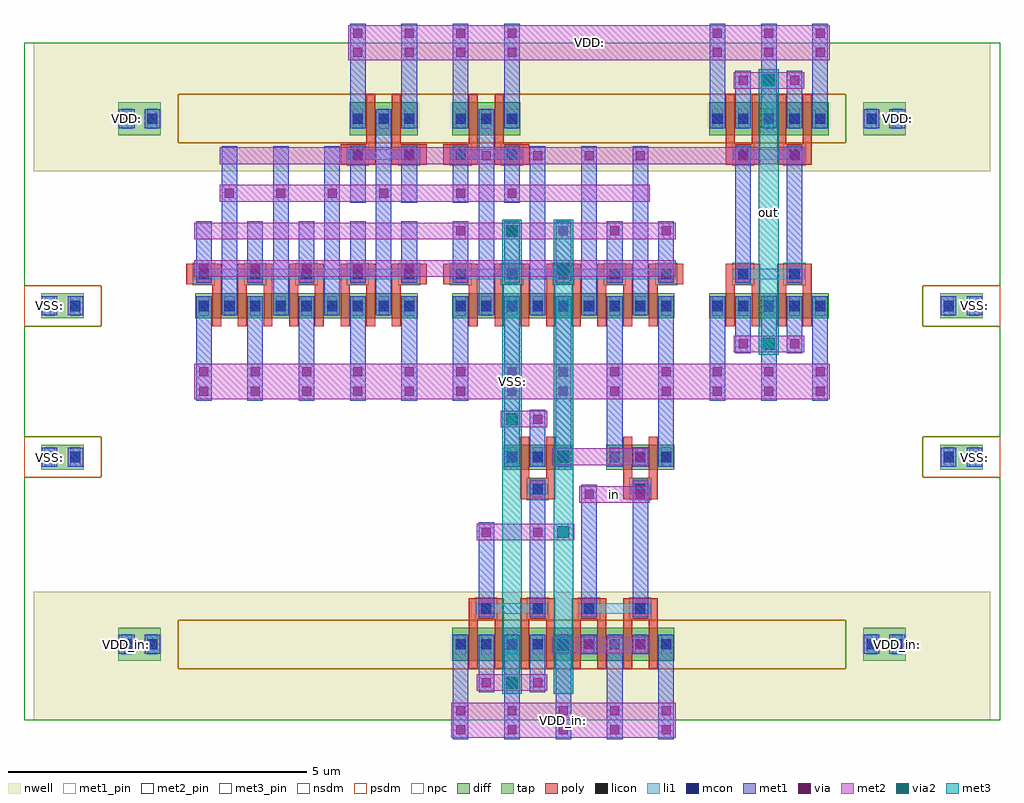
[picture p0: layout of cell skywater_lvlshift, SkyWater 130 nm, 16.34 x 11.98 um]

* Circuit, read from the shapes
.subckt skywater_lvlshift VDD: VDD_in: VSS: in out
XM1 n1 n2 VSS: VSS: sky130_fd_pr__nfet_01v8 w=0.42 l=0.15 m=8
XM2 n3 n4 VSS: VSS: sky130_fd_pr__nfet_01v8 w=0.42 l=0.15 m=8
XM3 n4 n2 VSS: VSS: sky130_fd_pr__nfet_01v8 w=0.42 l=0.15 m=2
XM4 n2 in VSS: VSS: sky130_fd_pr__nfet_01v8 w=0.42 l=0.15 m=2
XM5 out n3 VSS: VSS: sky130_fd_pr__nfet_01v8 w=0.42 l=0.15 m=4
XM6 n1 n3 VDD: VDD: sky130_fd_pr__pfet_01v8 w=0.55 l=0.15 m=2
XM7 n4 n2 VDD_in: VDD_in: sky130_fd_pr__pfet_01v8 w=0.55 l=0.15 m=4
XM8 n3 n1 VDD: VDD: sky130_fd_pr__pfet_01v8 w=0.55 l=0.15 m=2
XM9 n2 in VDD_in: VDD_in: sky130_fd_pr__pfet_01v8 w=0.55 l=0.15 m=4
XM10 out n3 VDD: VDD: sky130_fd_pr__pfet_01v8 w=0.55 l=0.15 m=4
.ends

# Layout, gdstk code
from math import pi, radians
import gdstk
lib = gdstk.Library(unit=1e-6, precision=1e-09)
def R(c, l, rs):  # rectangles x0, y0, x1, y1
    for r in rs: c.add(gdstk.rectangle(r[:2], r[2:], *l))
def A(c, l, x, y, w, h, nx, ny, dx, dy):  # array of equal rectangles
    R(c, l, [(x+i*dx, y+j*dy, x+i*dx+w, y+j*dy+h) for i in range(nx) for j in range(ny)])
def P(c, l, *ps):  # polygons
    for p in ps: c.add(gdstk.Polygon(p, *l))
nwell = (64, 20)
diff = (65, 20)
tap = (65, 44)
poly = (66, 20)
licon = (66, 44)
li1 = (67, 20)
mcon = (67, 44)
met1_pin = (68, 16)
met1 = (68, 20)
via = (68, 44)
met2_pin = (69, 16)
met2 = (69, 20)
via2 = (69, 44)
met3_pin = (70, 16)
met3 = (70, 20)
nsdm = (93, 44)
psdm = (94, 20)
npc = (95, 20)

skywater_lvlshift_mosend = lib.new_cell('skywater_lvlshift_MOSEnd')
R(skywater_lvlshift_mosend, nwell, [(0,0,15.48,0.67)])
R(skywater_lvlshift_mosend, nsdm, [(0,0,15.48,0.67)])

skywater_lvlshift_moscon = lib.new_cell('skywater_lvlshift_MOSConn_4')
R(skywater_lvlshift_moscon, diff, [(-0.14,0.605,1,1.025)])
R(skywater_lvlshift_moscon, poly, [(0.265,0.105,0.595,0.455)])
P(skywater_lvlshift_moscon, poly, [(0.57,1.155),(0.57,0.455),(0.29,0.455),(0.29,1.155),(0.14,1.155),(0.14,0.105),(0.72,0.105),(0.72,1.155)])
A(skywater_lvlshift_moscon, licon, -0.085, 0.73, 0.17, 0.17, 3, 1, 0.43, 0)
R(skywater_lvlshift_moscon, licon, [(0.345,0.195,0.515,0.365)])
A(skywater_lvlshift_moscon, li1, -0.085, 0.65, 0.17, 0.33, 3, 1, 0.43, 0)
A(skywater_lvlshift_moscon, li1, -0.085, 0.69, 0.17, 0.25, 3, 1, 0.43, 0)
R(skywater_lvlshift_moscon, li1, [(0.265,0.195,0.595,0.365), (0.265,0.195,0.595,0.365), (0.305,0.195,0.555,0.365)])
A(skywater_lvlshift_moscon, mcon, -0.085, 0.73, 0.17, 0.17, 3, 1, 0.43, 0)
R(skywater_lvlshift_moscon, mcon, [(0.345,0.195,0.515,0.365)])
A(skywater_lvlshift_moscon, met1, -0.13, 0.655, 0.26, 0.32, 3, 1, 0.43, 0)
A(skywater_lvlshift_moscon, met1, -0.13, 0.67, 0.26, 0.29, 3, 1, 0.43, 0)
R(skywater_lvlshift_moscon, met1, [(0.3,0.105,0.56,0.425), (0.3,0.135,0.56,0.425)])
R(skywater_lvlshift_moscon, nsdm, [(0,0,0.86,1.35)])
R(skywater_lvlshift_moscon, npc, [(0.245,0.095,0.615,0.465)])

c_skywater_lvlshift_moscon = lib.new_cell('skywater_lvlshift_MOSConn_3')
R(c_skywater_lvlshift_moscon, nwell, [(0,0,1.72,1.48)])
R(c_skywater_lvlshift_moscon, diff, [(-0.14,0.605,1.86,1.155)])
R(c_skywater_lvlshift_moscon, poly, [(0.265,0.105,0.595,0.455), (1.125,0.105,1.455,0.455)])
P(c_skywater_lvlshift_moscon, poly, [(0.57,1.285),(0.57,0.455),(0.29,0.455),(0.29,1.285),(0.14,1.285),(0.14,0.105),(0.72,0.105),(0.72,1.285)],
  [(1.43,1.285),(1.43,0.455),(1.15,0.455),(1.15,1.285),(1,1.285),(1,0.105),(1.58,0.105),(1.58,1.285)])
A(c_skywater_lvlshift_moscon, licon, -0.085, 0.795, 0.17, 0.17, 5, 1, 0.43, 0)
R(c_skywater_lvlshift_moscon, licon, [(0.345,0.195,0.515,0.365), (1.205,0.195,1.375,0.365)])
A(c_skywater_lvlshift_moscon, li1, -0.085, 0.715, 0.17, 0.33, 5, 1, 0.43, 0)
A(c_skywater_lvlshift_moscon, li1, -0.085, 0.755, 0.17, 0.25, 5, 1, 0.43, 0)
R(c_skywater_lvlshift_moscon, li1, [(0.265,0.195,1.455,0.365), (0.265,0.195,0.595,0.365), (0.305,0.195,0.555,0.365), (1.125,0.195,1.455,0.365), (1.165,0.195,1.415,0.365)])
A(c_skywater_lvlshift_moscon, mcon, -0.085, 0.795, 0.17, 0.17, 5, 1, 0.43, 0)
R(c_skywater_lvlshift_moscon, mcon, [(0.345,0.195,0.515,0.365), (1.205,0.195,1.375,0.365)])
A(c_skywater_lvlshift_moscon, met1, -0.13, 0.72, 0.26, 0.32, 5, 1, 0.43, 0)
A(c_skywater_lvlshift_moscon, met1, -0.13, 0.735, 0.26, 0.29, 5, 1, 0.43, 0)
R(c_skywater_lvlshift_moscon, met1, [(0.3,0.105,0.56,0.425), (1.16,0.105,1.42,0.425), (0.3,0.135,0.56,0.425), (1.16,0.135,1.42,0.425)])
R(c_skywater_lvlshift_moscon, nsdm, [(0,0,1.72,0.475), (0,1.285,1.72,1.48)])
R(c_skywater_lvlshift_moscon, psdm, [(0,0.475,1.72,1.285)])
R(c_skywater_lvlshift_moscon, npc, [(0.245,0.095,0.615,0.465), (1.105,0.095,1.475,0.465)])

skywater_lvlshift_invcor = lib.new_cell('skywater_lvlshift_InvCore_3')
A(skywater_lvlshift_invcor, met1, -0.13, 4.24, 0.26, 1.75, 3, 1, 0.86, 0)
A(skywater_lvlshift_invcor, met1, -0.13, 5.35, 0.26, 0.64, 3, 1, 0.86, 0)
R(skywater_lvlshift_invcor, met1, [(-0.13,-0.32,0.13,1.425), (-0.13,-0.32,0.13,0.32), (0.73,-0.32,0.99,1.425), (0.73,-0.32,0.99,0.32), (0.3,1.1,0.56,1.425), (0.3,1.1,0.56,1.42), (0.3,1.655,0.56,3.945), (0.3,1.73,0.56,2.05), (1.16,1.73,1.42,3.945), (1.16,1.73,1.42,2.05), (0.3,4.24,0.56,4.57), (1.16,4.24,1.42,4.57), (0.3,4.25,0.56,4.57), (1.16,4.25,1.42,4.57)])
A(skywater_lvlshift_invcor, via, -0.075, 5.435, 0.15, 0.15, 3, 2, 0.86, 0.32)
R(skywater_lvlshift_invcor, via, [(-0.075,-0.235,0.075,-0.085), (0.785,-0.235,0.935,-0.085), (-0.075,0.085,0.075,0.235), (0.785,0.085,0.935,0.235), (0.355,1.185,0.505,1.335), (0.355,1.815,0.505,1.965), (1.215,1.815,1.365,1.965), (0.355,4.335,0.505,4.485), (1.215,4.335,1.365,4.485)])
A(skywater_lvlshift_invcor, met2, -0.16, 5.375, 0.32, 0.59, 3, 1, 0.86, 0)
R(skywater_lvlshift_invcor, met2, [(-0.16,-0.295,1.72,0.295), (-0.16,-0.295,0.16,0.295), (0.7,-0.295,1.02,0.295), (0.27,1.12,1.905,1.4), (0.27,1.12,0.59,1.4), (1.535,1.12,1.905,1.4), (0.27,1.75,1.45,2.03), (0.27,1.75,0.59,2.03), (1.13,1.75,1.45,2.03), (0.27,4.27,1.905,4.55), (0.27,4.27,0.59,4.55), (1.13,4.27,1.45,4.55), (1.535,4.27,1.905,4.55), (-0.16,5.375,1.88,5.965)])
R(skywater_lvlshift_invcor, via2, [(1.62,1.16,1.82,1.36), (1.62,4.31,1.82,4.51)])
R(skywater_lvlshift_invcor, met3, [(1.555,1.075,1.885,4.595), (1.555,1.075,1.885,1.445), (1.555,4.225,1.885,4.595)])
skywater_lvlshift_invcor.add(gdstk.Reference(skywater_lvlshift_moscon, (0,2.08), x_reflection=True))
skywater_lvlshift_invcor.add(gdstk.Reference(c_skywater_lvlshift_moscon, (0,3.52)))

c_skywater_lvlshift_invcor = lib.new_cell('skywater_lvlshift_InvCore_2')
A(c_skywater_lvlshift_invcor, met1, -0.13, 4.24, 0.26, 1.75, 3, 1, 0.86, 0)
A(c_skywater_lvlshift_invcor, met1, -0.13, 5.35, 0.26, 0.64, 3, 1, 0.86, 0)
R(c_skywater_lvlshift_invcor, met1, [(-0.13,-0.32,0.13,1.425), (-0.13,-0.32,0.13,0.32), (0.73,-0.32,0.99,1.425), (0.73,-0.32,0.99,0.32), (0.3,0.47,0.56,1.425), (0.3,0.47,0.56,0.79), (0.3,1.655,0.56,3.945), (0.3,2.36,0.56,2.68), (1.16,2.36,1.42,3.945), (1.16,2.36,1.42,2.68), (0.3,4.24,0.56,5.2), (1.16,4.24,1.42,5.2), (0.3,4.88,0.56,5.2), (1.16,4.88,1.42,5.2)])
A(c_skywater_lvlshift_invcor, via, -0.075, 5.435, 0.15, 0.15, 3, 2, 0.86, 0.32)
R(c_skywater_lvlshift_invcor, via, [(-0.075,-0.235,0.075,-0.085), (0.785,-0.235,0.935,-0.085), (-0.075,0.085,0.075,0.235), (0.785,0.085,0.935,0.235), (0.355,0.555,0.505,0.705), (0.355,2.445,0.505,2.595), (1.215,2.445,1.365,2.595), (0.355,4.965,0.505,5.115), (1.215,4.965,1.365,5.115)])
A(c_skywater_lvlshift_invcor, met2, -0.16, 5.375, 0.32, 0.59, 3, 1, 0.86, 0)
R(c_skywater_lvlshift_invcor, met2, [(-0.16,-0.295,1.72,0.295), (-0.16,-0.295,0.16,0.295), (0.7,-0.295,1.02,0.295), (0.27,0.49,1.045,0.77), (0.27,0.49,0.59,0.77), (0.675,0.49,1.045,0.77), (0.27,2.38,1.45,2.66), (0.27,2.38,0.59,2.66), (1.13,2.38,1.45,2.66), (0.27,4.9,1.45,5.18), (0.27,4.9,0.59,5.18), (0.675,4.9,1.045,5.18), (1.13,4.9,1.45,5.18), (-0.16,5.375,1.88,5.965)])
R(c_skywater_lvlshift_invcor, via2, [(0.76,0.53,0.96,0.73), (0.76,4.94,0.96,5.14)])
R(c_skywater_lvlshift_invcor, met3, [(0.695,0.445,1.025,5.225), (0.695,0.445,1.025,0.815), (0.695,4.855,1.025,5.225)])
c_skywater_lvlshift_invcor.add(gdstk.Reference(skywater_lvlshift_moscon, (0,2.08), x_reflection=True))
c_skywater_lvlshift_invcor.add(gdstk.Reference(c_skywater_lvlshift_moscon, (0,3.52)))

skywater_lvlshift_invcha = lib.new_cell('skywater_lvlshift_InvChainCore_2')
R(skywater_lvlshift_invcha, met2, [(-0.16,-0.295,3.44,0.295), (1.535,2.38,3.17,2.66), (1.535,2.38,1.905,2.66), (-0.16,5.375,3.6,5.965)])
R(skywater_lvlshift_invcha, via2, [(1.62,2.42,1.82,2.62)])
R(skywater_lvlshift_invcha, met3, [(1.555,1.075,1.885,4.595), (1.555,2.335,1.885,2.705)])
skywater_lvlshift_invcha.add(gdstk.Reference(skywater_lvlshift_invcor, (0,0)))
skywater_lvlshift_invcha.add(gdstk.Reference(c_skywater_lvlshift_invcor, (1.72,0)))

c_skywater_lvlshift_moscon_ = lib.new_cell('skywater_lvlshift_MOSConn_1')
R(c_skywater_lvlshift_moscon_, diff, [(-0.14,0.605,3.58,1.025)])
A(c_skywater_lvlshift_moscon_, poly, -0.165, 0.105, 0.33, 0.35, 5, 1, 0.86, 0)
P(c_skywater_lvlshift_moscon_, poly, [(0.14,1.155),(0.14,0.455),(-0.29,0.455),(-0.29,0.105),(0.29,0.105),(0.29,1.155)],
  [(1,1.155),(1,0.455),(0.72,0.455),(0.72,1.155),(0.57,1.155),(0.57,0.105),(1.15,0.105),(1.15,1.155)],
  [(1.86,1.155),(1.86,0.455),(1.58,0.455),(1.58,1.155),(1.43,1.155),(1.43,0.105),(2.01,0.105),(2.01,1.155)],
  [(2.72,1.155),(2.72,0.455),(2.44,0.455),(2.44,1.155),(2.29,1.155),(2.29,0.105),(2.87,0.105),(2.87,1.155)],
  [(3.15,1.155),(3.15,0.105),(3.73,0.105),(3.73,0.455),(3.3,0.455),(3.3,1.155)])
A(c_skywater_lvlshift_moscon_, licon, -0.085, 0.195, 0.17, 0.17, 5, 1, 0.86, 0)
A(c_skywater_lvlshift_moscon_, licon, -0.085, 0.73, 0.17, 0.17, 9, 1, 0.43, 0)
A(c_skywater_lvlshift_moscon_, li1, -0.165, 0.195, 0.33, 0.17, 5, 1, 0.86, 0)
A(c_skywater_lvlshift_moscon_, li1, -0.125, 0.195, 0.25, 0.17, 5, 1, 0.86, 0)
A(c_skywater_lvlshift_moscon_, li1, -0.085, 0.65, 0.17, 0.33, 9, 1, 0.43, 0)
A(c_skywater_lvlshift_moscon_, li1, -0.085, 0.69, 0.17, 0.25, 9, 1, 0.43, 0)
R(c_skywater_lvlshift_moscon_, li1, [(-0.165,0.195,3.605,0.365)])
A(c_skywater_lvlshift_moscon_, mcon, -0.085, 0.195, 0.17, 0.17, 5, 1, 0.86, 0)
A(c_skywater_lvlshift_moscon_, mcon, -0.085, 0.73, 0.17, 0.17, 9, 1, 0.43, 0)
A(c_skywater_lvlshift_moscon_, met1, -0.13, 0.105, 0.26, 0.32, 5, 1, 0.86, 0)
A(c_skywater_lvlshift_moscon_, met1, -0.13, 0.135, 0.26, 0.29, 5, 1, 0.86, 0)
A(c_skywater_lvlshift_moscon_, met1, -0.13, 0.655, 0.26, 0.32, 9, 1, 0.43, 0)
A(c_skywater_lvlshift_moscon_, met1, -0.13, 0.67, 0.26, 0.29, 9, 1, 0.43, 0)
R(c_skywater_lvlshift_moscon_, nsdm, [(0,0,3.44,1.35)])
A(c_skywater_lvlshift_moscon_, npc, -0.185, 0.095, 0.37, 0.37, 5, 1, 0.86, 0)

c_skywater_lvlshift_moscon__ = lib.new_cell('skywater_lvlshift_MOSConn')
R(c_skywater_lvlshift_moscon__, nwell, [(0,0,0.86,1.48)])
R(c_skywater_lvlshift_moscon__, diff, [(-0.14,0.605,1,1.155)])
R(c_skywater_lvlshift_moscon__, poly, [(-0.165,0.105,0.165,0.455), (0.695,0.105,1.025,0.455)])
P(c_skywater_lvlshift_moscon__, poly, [(0.14,1.285),(0.14,0.455),(-0.29,0.455),(-0.29,0.105),(0.29,0.105),(0.29,1.285)],
  [(0.57,1.285),(0.57,0.105),(1.15,0.105),(1.15,0.455),(0.72,0.455),(0.72,1.285)])
A(c_skywater_lvlshift_moscon__, licon, -0.085, 0.795, 0.17, 0.17, 3, 1, 0.43, 0)
R(c_skywater_lvlshift_moscon__, licon, [(-0.085,0.195,0.085,0.365), (0.775,0.195,0.945,0.365)])
A(c_skywater_lvlshift_moscon__, li1, -0.085, 0.715, 0.17, 0.33, 3, 1, 0.43, 0)
A(c_skywater_lvlshift_moscon__, li1, -0.085, 0.755, 0.17, 0.25, 3, 1, 0.43, 0)
R(c_skywater_lvlshift_moscon__, li1, [(-0.165,0.195,1.025,0.365), (-0.165,0.195,0.165,0.365), (-0.125,0.195,0.125,0.365), (0.695,0.195,1.025,0.365), (0.735,0.195,0.985,0.365)])
A(c_skywater_lvlshift_moscon__, mcon, -0.085, 0.795, 0.17, 0.17, 3, 1, 0.43, 0)
R(c_skywater_lvlshift_moscon__, mcon, [(-0.085,0.195,0.085,0.365), (0.775,0.195,0.945,0.365)])
A(c_skywater_lvlshift_moscon__, met1, -0.13, 0.72, 0.26, 0.32, 3, 1, 0.43, 0)
A(c_skywater_lvlshift_moscon__, met1, -0.13, 0.735, 0.26, 0.29, 3, 1, 0.43, 0)
R(c_skywater_lvlshift_moscon__, met1, [(-0.13,0.105,0.13,0.425), (0.73,0.105,0.99,0.425), (-0.13,0.135,0.13,0.425), (0.73,0.135,0.99,0.425)])
R(c_skywater_lvlshift_moscon__, nsdm, [(0,0,0.86,0.475), (0,1.285,0.86,1.48)])
R(c_skywater_lvlshift_moscon__, psdm, [(0,0.475,0.86,1.285)])
R(c_skywater_lvlshift_moscon__, npc, [(-0.185,0.095,0.185,0.465), (0.675,0.095,1.045,0.465)])

skywater_lvlshift_levels = lib.new_cell('skywater_lvlshift_LevelShifterCore')
A(skywater_lvlshift_levels, met1, -0.13, -0.32, 0.26, 1.745, 10, 1, 0.86, 0)
A(skywater_lvlshift_levels, met1, -0.13, -0.32, 0.26, 0.64, 10, 1, 0.86, 0)
A(skywater_lvlshift_levels, met1, 0.3, 1.105, 0.26, 2.835, 3, 1, 0.86, 0)
A(skywater_lvlshift_levels, met1, 5.46, 1.105, 0.26, 2.835, 3, 1, 0.86, 0)
A(skywater_lvlshift_levels, met1, -0.13, 1.655, 0.26, 1.025, 10, 1, 0.86, 0)
A(skywater_lvlshift_levels, met1, -0.13, 1.73, 0.26, 0.32, 5, 1, 0.86, 0)
A(skywater_lvlshift_levels, met1, 4.17, 2.36, 0.26, 0.32, 5, 1, 0.86, 0)
A(skywater_lvlshift_levels, met1, 0.3, 2.99, 0.26, 0.32, 4, 1, 0.86, 0)
A(skywater_lvlshift_levels, met1, 2.45, 2.99, 0.26, 0.955, 4, 1, 0.86, 0)
A(skywater_lvlshift_levels, met1, 4.6, 3.62, 0.26, 0.32, 4, 1, 0.86, 0)
A(skywater_lvlshift_levels, met1, 2.45, 4.24, 0.26, 1.75, 4, 1, 0.86, 0)
A(skywater_lvlshift_levels, met1, 2.45, 5.35, 0.26, 0.64, 4, 1, 0.86, 0)
R(skywater_lvlshift_levels, met1, [(2.88,1.105,3.14,4.56), (4.6,1.105,4.86,4.56), (2.88,2.99,3.14,3.31), (4.17,2.99,4.43,3.31), (5.03,2.99,5.29,3.31), (2.45,3.62,2.71,3.94), (3.31,3.62,3.57,3.94), (4.6,3.62,4.86,3.94)])
A(skywater_lvlshift_levels, via, -0.075, -0.235, 0.15, 0.15, 10, 2, 0.86, 0.32)
A(skywater_lvlshift_levels, via, -0.075, 1.815, 0.15, 0.15, 5, 1, 0.86, 0)
A(skywater_lvlshift_levels, via, 4.225, 2.445, 0.15, 0.15, 5, 1, 0.86, 0)
A(skywater_lvlshift_levels, via, 0.355, 3.075, 0.15, 0.15, 4, 1, 0.86, 0)
A(skywater_lvlshift_levels, via, 4.655, 3.705, 0.15, 0.15, 4, 1, 0.86, 0)
A(skywater_lvlshift_levels, via, 2.505, 5.435, 0.15, 0.15, 4, 2, 0.86, 0.32)
R(skywater_lvlshift_levels, via, [(2.935,3.075,3.085,3.225), (4.225,3.075,4.375,3.225), (5.085,3.075,5.235,3.225), (2.505,3.705,2.655,3.855), (3.365,3.705,3.515,3.855), (4.655,3.705,4.805,3.855)])
A(skywater_lvlshift_levels, met2, -0.16, -0.295, 0.32, 0.59, 10, 1, 0.86, 0)
A(skywater_lvlshift_levels, met2, -0.16, 1.75, 0.32, 0.28, 5, 1, 0.86, 0)
A(skywater_lvlshift_levels, met2, 4.14, 2.38, 0.32, 0.28, 5, 1, 0.86, 0)
A(skywater_lvlshift_levels, met2, 0.27, 3.01, 0.32, 0.28, 4, 1, 0.86, 0)
A(skywater_lvlshift_levels, met2, 4.57, 3.64, 0.32, 0.28, 4, 1, 0.86, 0)
A(skywater_lvlshift_levels, met2, 2.42, 5.375, 0.32, 0.59, 4, 1, 0.86, 0)
R(skywater_lvlshift_levels, met2, [(-0.16,-0.295,7.9,0.295), (-0.16,1.75,7.9,2.03), (-0.16,2.38,7.9,2.66), (0.27,3.01,7.47,3.29), (2.85,3.01,3.17,3.29), (4.14,3.01,4.46,3.29), (5,3.01,5.32,3.29), (0.27,3.64,7.47,3.92), (2.42,3.64,2.74,3.92), (3.28,3.64,3.6,3.92), (4.57,3.64,4.89,3.92), (2.42,5.375,5.32,5.965)])
skywater_lvlshift_levels.add(gdstk.Reference(c_skywater_lvlshift_moscon_, (4.3,2.08), x_reflection=True))
skywater_lvlshift_levels.add(gdstk.Reference(c_skywater_lvlshift_moscon_, (3.44,2.08), rotation=pi))
skywater_lvlshift_levels.add(gdstk.Reference(c_skywater_lvlshift_moscon__, (4.3,3.52)))
skywater_lvlshift_levels.add(gdstk.Reference(c_skywater_lvlshift_moscon__, (3.44,3.52), rotation=pi, x_reflection=True))

c_skywater_lvlshift_moscon___ = lib.new_cell('skywater_lvlshift_MOSConn_2')
R(c_skywater_lvlshift_moscon___, diff, [(-0.14,0.605,1.86,1.025)])
R(c_skywater_lvlshift_moscon___, poly, [(0.265,0.105,0.595,0.455), (1.125,0.105,1.455,0.455)])
P(c_skywater_lvlshift_moscon___, poly, [(0.57,1.155),(0.57,0.455),(0.29,0.455),(0.29,1.155),(0.14,1.155),(0.14,0.105),(0.72,0.105),(0.72,1.155)],
  [(1.43,1.155),(1.43,0.455),(1.15,0.455),(1.15,1.155),(1,1.155),(1,0.105),(1.58,0.105),(1.58,1.155)])
A(c_skywater_lvlshift_moscon___, licon, -0.085, 0.73, 0.17, 0.17, 5, 1, 0.43, 0)
R(c_skywater_lvlshift_moscon___, licon, [(0.345,0.195,0.515,0.365), (1.205,0.195,1.375,0.365)])
A(c_skywater_lvlshift_moscon___, li1, -0.085, 0.65, 0.17, 0.33, 5, 1, 0.43, 0)
A(c_skywater_lvlshift_moscon___, li1, -0.085, 0.69, 0.17, 0.25, 5, 1, 0.43, 0)
R(c_skywater_lvlshift_moscon___, li1, [(0.265,0.195,1.455,0.365), (0.265,0.195,0.595,0.365), (0.305,0.195,0.555,0.365), (1.125,0.195,1.455,0.365), (1.165,0.195,1.415,0.365)])
A(c_skywater_lvlshift_moscon___, mcon, -0.085, 0.73, 0.17, 0.17, 5, 1, 0.43, 0)
R(c_skywater_lvlshift_moscon___, mcon, [(0.345,0.195,0.515,0.365), (1.205,0.195,1.375,0.365)])
A(c_skywater_lvlshift_moscon___, met1, -0.13, 0.655, 0.26, 0.32, 5, 1, 0.43, 0)
A(c_skywater_lvlshift_moscon___, met1, -0.13, 0.67, 0.26, 0.29, 5, 1, 0.43, 0)
R(c_skywater_lvlshift_moscon___, met1, [(0.3,0.105,0.56,0.425), (1.16,0.105,1.42,0.425), (0.3,0.135,0.56,0.425), (1.16,0.135,1.42,0.425)])
R(c_skywater_lvlshift_moscon___, nsdm, [(0,0,1.72,1.35)])
R(c_skywater_lvlshift_moscon___, npc, [(0.245,0.095,0.615,0.465), (1.105,0.095,1.475,0.465)])

c_skywater_lvlshift_invcor_ = lib.new_cell('skywater_lvlshift_InvCore')
A(c_skywater_lvlshift_invcor_, met1, -0.13, -0.32, 0.26, 1.745, 3, 1, 0.86, 0)
A(c_skywater_lvlshift_invcor_, met1, -0.13, -0.32, 0.26, 0.64, 3, 2, 0.86, 5.67)
A(c_skywater_lvlshift_invcor_, met1, -0.13, 4.24, 0.26, 1.75, 3, 1, 0.86, 0)
R(c_skywater_lvlshift_invcor_, met1, [(0.3,0.47,0.56,1.425), (0.3,0.47,0.56,0.79), (1.16,0.47,1.42,1.425), (1.16,0.47,1.42,0.79), (0.3,1.655,0.56,3.945), (1.16,1.655,1.42,3.945), (0.3,3.62,0.56,3.94), (1.16,3.62,1.42,3.94), (0.3,4.24,0.56,5.2), (1.16,4.24,1.42,5.2), (0.3,4.88,0.56,5.2), (1.16,4.88,1.42,5.2)])
A(c_skywater_lvlshift_invcor_, via, -0.075, -0.235, 0.15, 0.15, 3, 2, 0.86, 0.32)
A(c_skywater_lvlshift_invcor_, via, -0.075, 5.435, 0.15, 0.15, 3, 2, 0.86, 0.32)
R(c_skywater_lvlshift_invcor_, via, [(0.355,0.555,0.505,0.705), (1.215,0.555,1.365,0.705), (0.355,3.705,0.505,3.855), (1.215,3.705,1.365,3.855), (0.355,4.965,0.505,5.115), (1.215,4.965,1.365,5.115)])
A(c_skywater_lvlshift_invcor_, met2, -0.16, -0.295, 0.32, 0.59, 3, 2, 0.86, 5.67)
R(c_skywater_lvlshift_invcor_, met2, [(-0.16,-0.295,1.88,0.295), (0.27,0.49,1.45,0.77), (0.27,0.49,0.59,0.77), (0.675,0.49,1.045,0.77), (1.13,0.49,1.45,0.77), (0.27,3.64,1.45,3.92), (0.27,3.64,0.59,3.92), (1.13,3.64,1.45,3.92), (0.27,4.9,1.45,5.18), (0.27,4.9,0.59,5.18), (0.675,4.9,1.045,5.18), (1.13,4.9,1.45,5.18), (-0.16,5.375,1.88,5.965)])
R(c_skywater_lvlshift_invcor_, via2, [(0.76,0.53,0.96,0.73), (0.76,4.94,0.96,5.14)])
R(c_skywater_lvlshift_invcor_, met3, [(0.695,0.445,1.025,5.225), (0.695,0.445,1.025,0.815), (0.695,4.855,1.025,5.225)])
c_skywater_lvlshift_invcor_.add(gdstk.Reference(c_skywater_lvlshift_moscon___, (0,2.08), x_reflection=True))
c_skywater_lvlshift_invcor_.add(gdstk.Reference(c_skywater_lvlshift_moscon, (0,3.52)))

c_skywater_lvlshift_invcha = lib.new_cell('skywater_lvlshift_InvChainCore')
R(c_skywater_lvlshift_invcha, met2, [(-0.16,-0.295,1.88,0.295), (-0.16,5.375,1.88,5.965)])
c_skywater_lvlshift_invcha.add(gdstk.Reference(c_skywater_lvlshift_invcor_, (0,0)))

c_skywater_lvlshift_levels = lib.new_cell('skywater_lvlshift_LevelShifterCoreOutBuffer')
R(c_skywater_lvlshift_levels, met2, [(-0.16,-0.295,10.48,0.295), (0.27,3.64,10.05,3.92), (2.42,5.375,10.48,5.965)])
c_skywater_lvlshift_levels.add(gdstk.Reference(skywater_lvlshift_levels, (0,0)))
c_skywater_lvlshift_levels.add(gdstk.Reference(c_skywater_lvlshift_invcha, (8.6,0)))

c_skywater_lvlshift_levels_ = lib.new_cell('skywater_lvlshift_LevelShifter')
R(c_skywater_lvlshift_levels_, met2, [(-0.16,5.375,10.48,5.965), (-0.16,7.42,7.9,7.7), (5.835,7.42,6.205,7.7), (-0.16,8.05,7.9,8.33), (4.975,8.05,5.345,8.33)])
R(c_skywater_lvlshift_levels_, via2, [(5.92,7.46,6.12,7.66), (5.06,8.09,5.26,8.29)])
R(c_skywater_lvlshift_levels_, met3, [(4.995,0.445,5.325,8.375), (5.855,0.445,6.185,8.375), (5.855,7.375,6.185,7.745), (4.995,8.005,5.325,8.375)])
c_skywater_lvlshift_levels_.add(gdstk.Reference(skywater_lvlshift_invcha, (7.74,5.67), rotation=pi))
c_skywater_lvlshift_levels_.add(gdstk.Reference(c_skywater_lvlshift_levels, (0,5.67)))

skywater_lvlshift_mostap = lib.new_cell('skywater_lvlshift_MOSTap')
R(skywater_lvlshift_mostap, tap, [(-0.14,0.605,0.57,1.025)])
R(skywater_lvlshift_mostap, licon, [(-0.085,0.73,0.085,0.9), (0.345,0.73,0.515,0.9)])
R(skywater_lvlshift_mostap, li1, [(-0.085,0.65,0.085,0.98), (0.345,0.65,0.515,0.98), (-0.085,0.69,0.085,0.94), (0.345,0.69,0.515,0.94)])
R(skywater_lvlshift_mostap, mcon, [(-0.085,0.73,0.085,0.9), (0.345,0.73,0.515,0.9)])
R(skywater_lvlshift_mostap, met1, [(-0.13,0.655,0.13,0.975), (0.3,0.655,0.56,0.975), (-0.13,0.67,0.13,0.96), (0.3,0.67,0.56,0.96)])
R(skywater_lvlshift_mostap, nsdm, [(0,0,0.43,0.475), (0,1.155,0.43,1.35)])
R(skywater_lvlshift_mostap, psdm, [(0,0.475,0.43,1.155)])

c_skywater_lvlshift_mostap = lib.new_cell('skywater_lvlshift_MOSTap_1')
R(c_skywater_lvlshift_mostap, nwell, [(0,0,0.43,1.48)])
R(c_skywater_lvlshift_mostap, tap, [(-0.14,0.605,0.57,1.155)])
R(c_skywater_lvlshift_mostap, licon, [(-0.085,0.795,0.085,0.965), (0.345,0.795,0.515,0.965)])
R(c_skywater_lvlshift_mostap, li1, [(-0.085,0.715,0.085,1.045), (0.345,0.715,0.515,1.045), (-0.085,0.755,0.085,1.005), (0.345,0.755,0.515,1.005)])
R(c_skywater_lvlshift_mostap, mcon, [(-0.085,0.795,0.085,0.965), (0.345,0.795,0.515,0.965)])
R(c_skywater_lvlshift_mostap, met1, [(-0.13,0.72,0.13,1.04), (0.3,0.72,0.56,1.04), (-0.13,0.735,0.13,1.025), (0.3,0.735,0.56,1.025)])
R(c_skywater_lvlshift_mostap, nsdm, [(0,0,0.43,1.48)])

c_skywater_lvlshift_levels__ = lib.new_cell('skywater_lvlshift_LevelShifterTap')
c_skywater_lvlshift_levels__.add(gdstk.Reference(c_skywater_lvlshift_levels_, (2.58,0)))
c_skywater_lvlshift_levels__.add(gdstk.Reference(skywater_lvlshift_mostap, (0,3.59)))
c_skywater_lvlshift_levels__.add(gdstk.Reference(skywater_lvlshift_mostap, (15.48,3.59), rotation=pi, x_reflection=True))
c_skywater_lvlshift_levels__.add(gdstk.Reference(c_skywater_lvlshift_mostap, (1.29,2.15), x_reflection=True))
c_skywater_lvlshift_levels__.add(gdstk.Reference(c_skywater_lvlshift_mostap, (14.19,2.15), rotation=pi))
c_skywater_lvlshift_levels__.add(gdstk.Reference(skywater_lvlshift_mostap, (0,7.75), x_reflection=True))
c_skywater_lvlshift_levels__.add(gdstk.Reference(skywater_lvlshift_mostap, (15.48,7.75), rotation=pi))
c_skywater_lvlshift_levels__.add(gdstk.Reference(c_skywater_lvlshift_mostap, (1.29,9.19)))
c_skywater_lvlshift_levels__.add(gdstk.Reference(c_skywater_lvlshift_mostap, (14.19,9.19), rotation=pi, x_reflection=True))

skywater_lvlshift_moscor = lib.new_cell('skywater_lvlshift_MOSCorner')
R(skywater_lvlshift_moscor, nwell, [(0.16,0,0.43,0.67)])
R(skywater_lvlshift_moscor, nsdm, [(0,0,0.43,0.67)])

skywater_lvlshift_mosrow = lib.new_cell('skywater_lvlshift_MOSRowEdge')
R(skywater_lvlshift_mosrow, nwell, [(0.16,0,0.43,1.48)])
R(skywater_lvlshift_mosrow, nsdm, [(0,0,0.43,1.48)])

c_skywater_lvlshift_mosrow = lib.new_cell('skywater_lvlshift_MOSRowEdge_1')
R(c_skywater_lvlshift_mosrow, nsdm, [(0,0,0.43,0.475), (0,1.155,0.43,1.35)])
R(c_skywater_lvlshift_mosrow, psdm, [(0,0.475,0.43,1.155)])

skywater_lvlshift_mosspa = lib.new_cell('skywater_lvlshift_MOSSpace')
P(skywater_lvlshift_mosspa, nsdm, [(0,1.35),(0,1.155),(0.43,1.155),(0.43,0.475),(0,0.475),(0,0),(7.31,0),(7.31,1.35)])
R(skywater_lvlshift_mosspa, psdm, [(0,0.475,0.43,1.155)])

c_skywater_lvlshift_mosspa = lib.new_cell('skywater_lvlshift_MOSSpace_1')
R(c_skywater_lvlshift_mosspa, nsdm, [(0,0,0.86,1.35)])

c_skywater_lvlshift_mosspa_ = lib.new_cell('skywater_lvlshift_MOSSpace_2')
P(c_skywater_lvlshift_mosspa_, nsdm, [(0,1.35),(0,0),(4.73,0),(4.73,0.475),(4.3,0.475),(4.3,1.155),(4.73,1.155),(4.73,1.35)])
R(c_skywater_lvlshift_mosspa_, psdm, [(4.3,0.475,4.73,1.155)])

c_skywater_lvlshift_mosspa__ = lib.new_cell('skywater_lvlshift_MOSSpace_3')
R(c_skywater_lvlshift_mosspa__, nwell, [(0,0,1.29,1.48)])
R(c_skywater_lvlshift_mosspa__, nsdm, [(0,0,1.29,1.48)])

c_skywater_lvlshift_mosspa___ = lib.new_cell('skywater_lvlshift_MOSSpace_5')
R(c_skywater_lvlshift_mosspa___, nwell, [(0,0,3.44,1.48)])
P(c_skywater_lvlshift_mosspa___, nsdm, [(0,1.48),(0,1.285),(3.01,1.285),(3.01,0.475),(0,0.475),(0,0),(3.44,0),(3.44,1.48)])
R(c_skywater_lvlshift_mosspa___, psdm, [(0,0.475,3.01,1.285)])

c_skywater_lvlshift_mosspa____ = lib.new_cell('skywater_lvlshift_MOSSpace_6')
R(c_skywater_lvlshift_mosspa____, nwell, [(0,0,1.29,1.48)])
R(c_skywater_lvlshift_mosspa____, nsdm, [(0,0,1.29,1.48)])

c_skywater_lvlshift_mosspa_____ = lib.new_cell('skywater_lvlshift_MOSSpace_4')
R(c_skywater_lvlshift_mosspa_____, nwell, [(0,0,5.16,1.48)])
P(c_skywater_lvlshift_mosspa_____, nsdm, [(0,1.48),(0,0),(5.16,0),(5.16,0.475),(0.43,0.475),(0.43,1.285),(5.16,1.285),(5.16,1.48)])
R(c_skywater_lvlshift_mosspa_____, psdm, [(0.43,0.475,5.16,1.285)])

c_skywater_lvlshift_mosspa______ = lib.new_cell('skywater_lvlshift_MOSSpace_7')
P(c_skywater_lvlshift_mosspa______, nsdm, [(0,1.35),(0,1.155),(0.43,1.155),(0.43,0.475),(0,0.475),(0,0),(2.15,0),(2.15,1.35)])
R(c_skywater_lvlshift_mosspa______, psdm, [(0,0.475,0.43,1.155)])

c_skywater_lvlshift_mosspa_______ = lib.new_cell('skywater_lvlshift_MOSSpace_8')
P(c_skywater_lvlshift_mosspa_______, nsdm, [(0,1.35),(0,0),(2.15,0),(2.15,0.475),(1.72,0.475),(1.72,1.155),(2.15,1.155),(2.15,1.35)])
R(c_skywater_lvlshift_mosspa_______, psdm, [(1.72,0.475,2.15,1.155)])

c_skywater_lvlshift_mosspa________ = lib.new_cell('skywater_lvlshift_MOSSpace_10')
R(c_skywater_lvlshift_mosspa________, nwell, [(0,0,0.86,1.48)])
R(c_skywater_lvlshift_mosspa________, nsdm, [(0,0,0.86,0.475), (0,1.285,0.86,1.48)])
R(c_skywater_lvlshift_mosspa________, psdm, [(0,0.475,0.86,1.285)])

c_skywater_lvlshift_mosspa_________ = lib.new_cell('skywater_lvlshift_MOSSpace_11')
R(c_skywater_lvlshift_mosspa_________, nwell, [(0,0,3.44,1.48)])
R(c_skywater_lvlshift_mosspa_________, nsdm, [(0,0,3.44,0.475), (0,1.285,3.44,1.48)])
R(c_skywater_lvlshift_mosspa_________, psdm, [(0,0.475,3.44,1.285)])

c_skywater_lvlshift_mosspa__________ = lib.new_cell('skywater_lvlshift_MOSSpace_12')
R(c_skywater_lvlshift_mosspa__________, nwell, [(0,0,0.86,1.48)])
P(c_skywater_lvlshift_mosspa__________, nsdm, [(0,1.48),(0,1.285),(0.43,1.285),(0.43,0.475),(0,0.475),(0,0),(0.86,0),(0.86,1.48)])
R(c_skywater_lvlshift_mosspa__________, psdm, [(0,0.475,0.43,1.285)])

c_skywater_lvlshift_mosspa___________ = lib.new_cell('skywater_lvlshift_MOSSpace_9')
R(c_skywater_lvlshift_mosspa___________, nwell, [(0,0,3.44,1.48)])
P(c_skywater_lvlshift_mosspa___________, nsdm, [(0,1.48),(0,0),(3.44,0),(3.44,0.475),(0.43,0.475),(0.43,1.285),(3.44,1.285),(3.44,1.48)])
R(c_skywater_lvlshift_mosspa___________, psdm, [(0.43,0.475,3.44,1.285)])

c_skywater_lvlshift_levels___ = lib.new_cell('skywater_lvlshift_LevelShifterWrap')
R(c_skywater_lvlshift_levels___, nsdm, [(0,2.15,16.34,3.59), (0,4.94,16.34,6.4), (0,7.75,16.34,9.19)])
c_skywater_lvlshift_levels___.add(gdstk.Reference(skywater_lvlshift_mosend, (0.43,0)))
c_skywater_lvlshift_levels___.add(gdstk.Reference(skywater_lvlshift_mosend, (0.43,11.34), x_reflection=True))
c_skywater_lvlshift_levels___.add(gdstk.Reference(c_skywater_lvlshift_levels__, (0.43,0)))
c_skywater_lvlshift_levels___.add(gdstk.Reference(skywater_lvlshift_moscor, (0,0)))
c_skywater_lvlshift_levels___.add(gdstk.Reference(skywater_lvlshift_moscor, (16.34,0), rotation=pi, x_reflection=True))
c_skywater_lvlshift_levels___.add(gdstk.Reference(skywater_lvlshift_moscor, (0,11.34), x_reflection=True))
c_skywater_lvlshift_levels___.add(gdstk.Reference(skywater_lvlshift_moscor, (16.34,11.34), rotation=pi))
c_skywater_lvlshift_levels___.add(gdstk.Reference(skywater_lvlshift_mosrow, (0,2.15), x_reflection=True))
c_skywater_lvlshift_levels___.add(gdstk.Reference(skywater_lvlshift_mosrow, (16.34,2.15), rotation=pi))
c_skywater_lvlshift_levels___.add(gdstk.Reference(c_skywater_lvlshift_mosrow, (0,3.59)))
c_skywater_lvlshift_levels___.add(gdstk.Reference(c_skywater_lvlshift_mosrow, (16.34,3.59), rotation=pi, x_reflection=True))
c_skywater_lvlshift_levels___.add(gdstk.Reference(c_skywater_lvlshift_mosrow, (0,7.75), x_reflection=True))
c_skywater_lvlshift_levels___.add(gdstk.Reference(c_skywater_lvlshift_mosrow, (16.34,7.75), rotation=pi))
c_skywater_lvlshift_levels___.add(gdstk.Reference(skywater_lvlshift_mosrow, (0,9.19)))
c_skywater_lvlshift_levels___.add(gdstk.Reference(skywater_lvlshift_mosrow, (16.34,9.19), rotation=pi, x_reflection=True))
c_skywater_lvlshift_levels___.add(gdstk.Reference(skywater_lvlshift_mosspa, (0.86,3.59)))
c_skywater_lvlshift_levels___.add(gdstk.Reference(c_skywater_lvlshift_mosspa, (9.03,3.59)))
c_skywater_lvlshift_levels___.add(gdstk.Reference(c_skywater_lvlshift_mosspa_, (10.75,3.59)))
c_skywater_lvlshift_levels___.add(gdstk.Reference(c_skywater_lvlshift_mosspa__, (0.43,2.15), x_reflection=True))
c_skywater_lvlshift_levels___.add(gdstk.Reference(c_skywater_lvlshift_mosspa___, (10.75,2.15), x_reflection=True))
c_skywater_lvlshift_levels___.add(gdstk.Reference(c_skywater_lvlshift_mosspa____, (14.62,2.15), x_reflection=True))
c_skywater_lvlshift_levels___.add(gdstk.Reference(c_skywater_lvlshift_mosspa_____, (2.15,2.15), x_reflection=True))
c_skywater_lvlshift_levels___.add(gdstk.Reference(c_skywater_lvlshift_mosspa______, (0.86,7.75), x_reflection=True))
c_skywater_lvlshift_levels___.add(gdstk.Reference(c_skywater_lvlshift_mosspa, (6.45,7.75), x_reflection=True))
c_skywater_lvlshift_levels___.add(gdstk.Reference(c_skywater_lvlshift_mosspa, (10.75,7.75), x_reflection=True))
c_skywater_lvlshift_levels___.add(gdstk.Reference(c_skywater_lvlshift_mosspa_______, (13.33,7.75), x_reflection=True))
c_skywater_lvlshift_levels___.add(gdstk.Reference(c_skywater_lvlshift_mosspa__, (0.43,9.19)))
c_skywater_lvlshift_levels___.add(gdstk.Reference(c_skywater_lvlshift_mosspa________, (6.45,9.19)))
c_skywater_lvlshift_levels___.add(gdstk.Reference(c_skywater_lvlshift_mosspa_________, (8.17,9.19)))
c_skywater_lvlshift_levels___.add(gdstk.Reference(c_skywater_lvlshift_mosspa__________, (13.33,9.19)))
c_skywater_lvlshift_levels___.add(gdstk.Reference(c_skywater_lvlshift_mosspa____, (14.62,9.19)))
c_skywater_lvlshift_levels___.add(gdstk.Reference(c_skywater_lvlshift_mosspa___________, (2.15,9.19)))

skywater_lvlshift = lib.new_cell('skywater_lvlshift')
R(skywater_lvlshift, met1_pin, [(1.59,1.425,1.85,1.745), (14.49,1.425,14.75,1.745), (0.3,4.56,0.56,4.88), (15.78,4.56,16.04,4.88), (0.3,7.09,0.56,7.41), (15.78,7.09,16.04,7.41), (1.59,10.225,1.85,10.545), (14.49,10.225,14.75,10.545)])
R(skywater_lvlshift, met2_pin, [(7.15,0.02,10.91,0.61), (9.3,3.955,10.48,4.235), (2.85,5.69,13.49,6.28), (5.43,11.36,13.49,11.95)])
R(skywater_lvlshift, met3_pin, [(12.305,6.43,12.635,11.21)])
skywater_lvlshift.add(gdstk.Reference(c_skywater_lvlshift_levels___, (0,0.315)))
skywater_lvlshift.add(gdstk.Label('VDD_in:', (1.72,1.585), layer=68, texttype=16))
skywater_lvlshift.add(gdstk.Label('VDD_in:', (14.62,1.585), layer=68, texttype=16))
skywater_lvlshift.add(gdstk.Label('VSS:', (0.43,4.72), layer=68, texttype=16))
skywater_lvlshift.add(gdstk.Label('VSS:', (15.91,4.72), layer=68, texttype=16))
skywater_lvlshift.add(gdstk.Label('VSS:', (0.43,7.25), layer=68, texttype=16))
skywater_lvlshift.add(gdstk.Label('VSS:', (15.91,7.25), layer=68, texttype=16))
skywater_lvlshift.add(gdstk.Label('VDD:', (1.72,10.385), layer=68, texttype=16))
skywater_lvlshift.add(gdstk.Label('VDD:', (14.62,10.385), layer=68, texttype=16))
skywater_lvlshift.add(gdstk.Label('VDD_in:', (9.03,0.315), layer=69, texttype=16))
skywater_lvlshift.add(gdstk.Label('VSS:', (8.17,5.985), layer=69, texttype=16))
skywater_lvlshift.add(gdstk.Label('VDD:', (9.46,11.655), layer=69, texttype=16))
skywater_lvlshift.add(gdstk.Label('in', (9.89,4.095), layer=69, texttype=16))
skywater_lvlshift.add(gdstk.Label('out', (12.47,8.82), layer=70, texttype=16))

lib.write_gds('skywater_lvlshift.gds')
